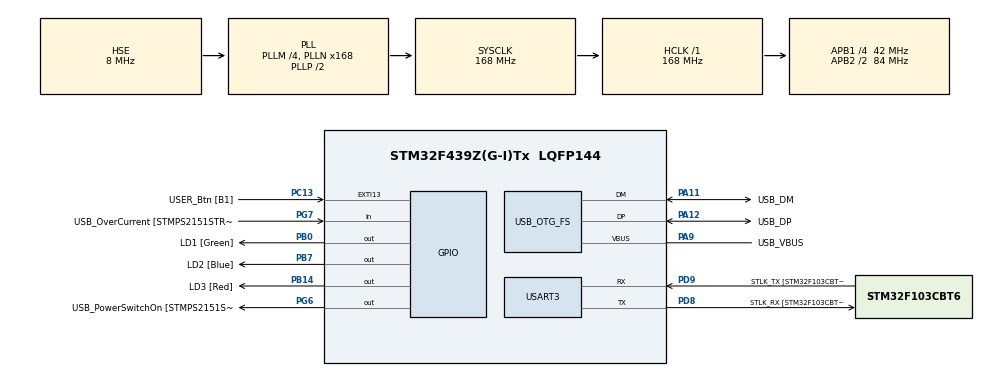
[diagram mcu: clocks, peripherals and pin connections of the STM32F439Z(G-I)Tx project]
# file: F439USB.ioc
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FATFS._MAX_SS=4096
Mcu.Family=STM32F4
Mcu.Name=STM32F439Z(G-I)Tx
Mcu.Package=LQFP144
NVIC.OTG_FS_IRQn=true\:0\:0\:false\:false\:true\:false\:true\:true
NVIC.PriorityGroup=NVIC_PRIORITYGROUP_4
PA1.GPIO_Label=RMII_REF_CLK [LAN8742A-CZ-TR_REFCLK0]
PA1.Signal=ETH_REF_CLK
PA10.GPIO_Label=USB_ID
PA10.Signal=USB_OTG_FS_ID
PA11.GPIO_Label=USB_DM
PA11.Mode=Host_Only
PA11.Signal=USB_OTG_FS_DM
PA12.GPIO_Label=USB_DP
PA12.Mode=Host_Only
PA12.Signal=USB_OTG_FS_DP
PA13.GPIO_Label=TMS
PA13.Mode=Serial_Wire
PA13.Signal=SYS_JTMS-SWDIO
PA14.GPIO_Label=TCK
PA14.Mode=Serial_Wire
PA14.Signal=SYS_JTCK-SWCLK
PA2.GPIO_Label=RMII_MDIO [LAN8742A-CZ-TR_MDIO]
PA2.Signal=ETH_MDIO
PA7.GPIO_Label=RMII_CRS_DV [LAN8742A-CZ-TR_CRS_DV]
PA7.Signal=ETH_CRS_DV
PA8.GPIO_Label=USB_SOF [TP1]
PA8.Signal=USB_OTG_FS_SOF
PA9.GPIO_Label=USB_VBUS
PA9.Mode=Activate_VBUS
PA9.Signal=USB_OTG_FS_VBUS
PB0.GPIO_Label=LD1 [Green]
PB0.Signal=GPIO_Output
PB13.GPIO_Label=RMII_TXD1 [LAN8742A-CZ-TR_TXD1]
PB13.Signal=ETH_TXD1
PB14.GPIO_Label=LD3 [Red]
PB14.Signal=GPIO_Output
PB7.GPIO_Label=LD2 [Blue]
PB7.Signal=GPIO_Output
PC1.GPIO_Label=RMII_MDC [LAN8742A-CZ-TR_MDC]
PC1.Signal=ETH_MDC
PC13.GPIO_Label=USER_Btn [B1]
PC13.Signal=GPXTI13
PC14/OSC32_IN.Mode=LSE-External-Oscillator
PC14/OSC32_IN.Signal=RCC_OSC32_IN
PC15/OSC32_OUT.Mode=LSE-External-Oscillator
PC15/OSC32_OUT.Signal=RCC_OSC32_OUT
PC4.GPIO_Label=RMII_RXD0 [LAN8742A-CZ-TR_RXD0]
PC4.Signal=ETH_RXD0
PC5.GPIO_Label=RMII_RXD1 [LAN8742A-CZ-TR_RXD1]
PC5.Signal=ETH_RXD1
PD8.GPIO_Label=STLK_RX [STM32F103CBT6_PA3]
PD8.Mode=Asynchronous
PD8.Signal=USART3_TX
PD9.GPIO_Label=STLK_TX [STM32F103CBT6_PA2]
PD9.Mode=Asynchronous
PD9.Signal=USART3_RX
PG11.GPIO_Label=RMII_TX_EN [LAN8742A-CZ-TR_TXEN]
PG11.Signal=ETH_TX_EN
PG13.GPIO_Label=RMII_TXD0 [LAN8742A-CZ-TR_TXD0]
PG13.Signal=ETH_TXD0
PG6.GPIO_Label=USB_PowerSwitchOn [STMPS2151STR_EN]
PG6.PinState=GPIO_PIN_SET
PG6.Signal=GPIO_Output
PG7.GPIO_Label=USB_OverCurrent [STMPS2151STR_FAULT]
PG7.Signal=GPIO_Input
PH0/OSC_IN.GPIO_Label=MCO [STM32F103CBT6_PA8]
PH0/OSC_IN.Mode=HSE-External-Clock-Source
PH0/OSC_IN.Signal=RCC_OSC_IN
PH1/OSC_OUT.Mode=HSE-External-Clock-Source
PH1/OSC_OUT.Signal=RCC_OSC_OUT
ProjectManager.HeapSize=0x800
ProjectManager.StackSize=0x800
ProjectManager.TargetToolchain=STM32CubeIDE
RCC.48MHZClocksFreq_Value=48000000
RCC.AHBFreq_Value=168000000
RCC.APB1CLKDivider=RCC_HCLK_DIV4
RCC.APB1Freq_Value=42000000
RCC.APB1TimFreq_Value=84000000
RCC.APB2CLKDivider=RCC_HCLK_DIV2
RCC.APB2Freq_Value=84000000
RCC.APB2TimCLKDivider=2
RCC.APB2TimFreq_Value=168000000
RCC.CortexFreq_Value=168000000
RCC.HCLKFreq_Value=168000000
RCC.HSE_VALUE=8000000
RCC.HSI_VALUE=16000000
RCC.PLLM=4
RCC.PLLMUL=RCC_PLL_MUL9
RCC.PLLN=168
RCC.PLLQ=7
RCC.PRESCALERUSB=RCC_USBCLKSOURCE_PLL_DIV1_5
RCC.SYSCLKFreq_VALUE=168000000
RCC.SYSCLKSource=RCC_SYSCLKSOURCE_PLLCLK
RCC.SYSCLKSourceVirtual=RCC_SYSCLKSOURCE_PLLCLK
RCC.USBFreq_Value=48000000
RCC.VCOOutputFreq_Value=336000000
USART3.VirtualMode=VM_ASYNC
USB_HOST.BSP.number=1
USB_HOST.USBH_DEBUG_LEVEL-MSC_FS=3
USB_HOST.USBH_HandleTypeDef-MSC_FS=hUsbHostFS
USB_HOST.VirtualModeFS=Msc
USB_HOST0.BSP.STBoard=false
USB_HOST0.BSP.api=Unknown
USB_HOST0.BSP.condition=SW_VBUS_DRIVE_MSC_FS \= false
USB_HOST0.BSP.instance=PG6
USB_HOST0.BSP.ip=GPIO
USB_HOST0.BSP.mode=Output
USB_HOST0.BSP.name=Drive_VBUS_FS
USB_HOST0.BSP.solution=PG6
USB_OTG_FS.VirtualMode=Host_Only
USB_OTG_FS.phy_itface=HCD_PHY_EMBEDDED
VP_FATFS_VS_USB.Mode=USB
VP_USB_HOST_VS_USB_HOST_MSC_FS.Mode=MSC_FS
board=NUCLEO-F439ZI

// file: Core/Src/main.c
/* USER CODE BEGIN Header */
/**
  ******************************************************************************
  * @file           : main.c
  * @brief          : Main program body
  ******************************************************************************
  * @attention
  *
  * Copyright (c) 2025 STMicroelectronics.
  * All rights reserved.
  *
  * This software is licensed under terms that can be found in the LICENSE file
  * in the root directory of this software component.
  * If no LICENSE file comes with this software, it is provided AS-IS.
  *
  ******************************************************************************
  */
/* USER CODE END Header */
#include "main.h"
#include "fatfs.h"
#include "usb_host.h"

/* USER CODE BEGIN Includes */
#include <stdio.h>
/* USER CODE END Includes */

UART_HandleTypeDef huart3;

/* USER CODE BEGIN PV */
extern ApplicationTypeDef Appli_state;
uint8_t USBWriteOpEnable; // set from the watch window
extern UART_HandleTypeDef huart3;
/* USER CODE END PV */

void SystemClock_Config(void);
static void MX_GPIO_Init(void);
static void MX_USART3_UART_Init(void);
void MX_USB_HOST_Process(void);

/* USER CODE BEGIN PFP */
void MyUSBUserFnc(void);
static FRESULT ETX_MSC_ProcessUsbDevice(void);
/* USER CODE END PFP */

int main(void)
{

  /* MCU Configuration--------------------------------------------------------*/

  /* Reset of all peripherals, Initializes the Flash interface and the Systick. */
  HAL_Init();

  /* Configure the system clock */
  SystemClock_Config();

  /* Initialize all configured peripherals */
  MX_GPIO_Init();
  MX_USART3_UART_Init();
  MX_FATFS_Init();
  MX_USB_HOST_Init();

  /* Infinite loop */
  while (1)
  {
    MX_USB_HOST_Process();

    /* USER CODE BEGIN 3 */
    MyUSBUserFnc();
  }
  /* USER CODE END 3 */
}

void SystemClock_Config(void)
{
  RCC_OscInitTypeDef RCC_OscInitStruct = {0};
  RCC_ClkInitTypeDef RCC_ClkInitStruct = {0};

  /** Configure the main internal regulator output voltage
  */
  __HAL_RCC_PWR_CLK_ENABLE();
  __HAL_PWR_VOLTAGESCALING_CONFIG(PWR_REGULATOR_VOLTAGE_SCALE1);

  /** Initializes the RCC Oscillators according to the specified parameters
  * in the RCC_OscInitTypeDef structure.
  */
  RCC_OscInitStruct.OscillatorType = RCC_OSCILLATORTYPE_HSE;
  RCC_OscInitStruct.HSEState = RCC_HSE_BYPASS;
  RCC_OscInitStruct.PLL.PLLState = RCC_PLL_ON;
  RCC_OscInitStruct.PLL.PLLSource = RCC_PLLSOURCE_HSE;
  RCC_OscInitStruct.PLL.PLLM = 4;
  RCC_OscInitStruct.PLL.PLLN = 168;
  RCC_OscInitStruct.PLL.PLLP = RCC_PLLP_DIV2;
  RCC_OscInitStruct.PLL.PLLQ = 7;
  if (HAL_RCC_OscConfig(&RCC_OscInitStruct) != HAL_OK)
  {
    Error_Handler();
  }

  /** Initializes the CPU, AHB and APB buses clocks
  */
  RCC_ClkInitStruct.ClockType = RCC_CLOCKTYPE_HCLK|RCC_CLOCKTYPE_SYSCLK
                              |RCC_CLOCKTYPE_PCLK1|RCC_CLOCKTYPE_PCLK2;
  RCC_ClkInitStruct.SYSCLKSource = RCC_SYSCLKSOURCE_PLLCLK;
  RCC_ClkInitStruct.AHBCLKDivider = RCC_SYSCLK_DIV1;
  RCC_ClkInitStruct.APB1CLKDivider = RCC_HCLK_DIV4;
  RCC_ClkInitStruct.APB2CLKDivider = RCC_HCLK_DIV2;

  if (HAL_RCC_ClockConfig(&RCC_ClkInitStruct, FLASH_LATENCY_5) != HAL_OK)
  {
    Error_Handler();
  }
}

static void MX_USART3_UART_Init(void)
{

  huart3.Instance = USART3;
  huart3.Init.BaudRate = 115200;
  huart3.Init.WordLength = UART_WORDLENGTH_8B;
  huart3.Init.StopBits = UART_STOPBITS_1;
  huart3.Init.Parity = UART_PARITY_NONE;
  huart3.Init.Mode = UART_MODE_TX_RX;
  huart3.Init.HwFlowCtl = UART_HWCONTROL_NONE;
  huart3.Init.OverSampling = UART_OVERSAMPLING_16;
  if (HAL_UART_Init(&huart3) != HAL_OK)
  {
    Error_Handler();
  }

}

static void MX_GPIO_Init(void)
{
  GPIO_InitTypeDef GPIO_InitStruct = {0};

  /* GPIO Ports Clock Enable */
  __HAL_RCC_GPIOC_CLK_ENABLE();
  __HAL_RCC_GPIOH_CLK_ENABLE();
  __HAL_RCC_GPIOA_CLK_ENABLE();
  __HAL_RCC_GPIOB_CLK_ENABLE();
  __HAL_RCC_GPIOD_CLK_ENABLE();
  __HAL_RCC_GPIOG_CLK_ENABLE();

  /*Configure GPIO pin Output Level */
  HAL_GPIO_WritePin(GPIOB, LD1_Pin|LD3_Pin|LD2_Pin, GPIO_PIN_RESET);

  /*Configure GPIO pin Output Level */
  HAL_GPIO_WritePin(USB_PowerSwitchOn_GPIO_Port, USB_PowerSwitchOn_Pin, GPIO_PIN_SET);

  /*Configure GPIO pin : USER_Btn_Pin */
  GPIO_InitStruct.Pin = USER_Btn_Pin;
  GPIO_InitStruct.Mode = GPIO_MODE_IT_RISING;
  GPIO_InitStruct.Pull = GPIO_NOPULL;
  HAL_GPIO_Init(USER_Btn_GPIO_Port, &GPIO_InitStruct);

  /*Configure GPIO pins : RMII_MDC_Pin RMII_RXD0_Pin RMII_RXD1_Pin */
  GPIO_InitStruct.Pin = RMII_MDC_Pin|RMII_RXD0_Pin|RMII_RXD1_Pin;
  GPIO_InitStruct.Mode = GPIO_MODE_AF_PP;
  GPIO_InitStruct.Pull = GPIO_NOPULL;
  GPIO_InitStruct.Speed = GPIO_SPEED_FREQ_VERY_HIGH;
  GPIO_InitStruct.Alternate = GPIO_AF11_ETH;
  HAL_GPIO_Init(GPIOC, &GPIO_InitStruct);

  /*Configure GPIO pins : RMII_REF_CLK_Pin RMII_MDIO_Pin RMII_CRS_DV_Pin */
  GPIO_InitStruct.Pin = RMII_REF_CLK_Pin|RMII_MDIO_Pin|RMII_CRS_DV_Pin;
  GPIO_InitStruct.Mode = GPIO_MODE_AF_PP;
  GPIO_InitStruct.Pull = GPIO_NOPULL;
  GPIO_InitStruct.Speed = GPIO_SPEED_FREQ_VERY_HIGH;
  GPIO_InitStruct.Alternate = GPIO_AF11_ETH;
  HAL_GPIO_Init(GPIOA, &GPIO_InitStruct);

  /*Configure GPIO pins : LD1_Pin LD3_Pin LD2_Pin */
  GPIO_InitStruct.Pin = LD1_Pin|LD3_Pin|LD2_Pin;
  GPIO_InitStruct.Mode = GPIO_MODE_OUTPUT_PP;
  GPIO_InitStruct.Pull = GPIO_NOPULL;
  GPIO_InitStruct.Speed = GPIO_SPEED_FREQ_LOW;
  HAL_GPIO_Init(GPIOB, &GPIO_InitStruct);

  /*Configure GPIO pin : RMII_TXD1_Pin */
  GPIO_InitStruct.Pin = RMII_TXD1_Pin;
  GPIO_InitStruct.Mode = GPIO_MODE_AF_PP;
  GPIO_InitStruct.Pull = GPIO_NOPULL;
  GPIO_InitStruct.Speed = GPIO_SPEED_FREQ_VERY_HIGH;
  GPIO_InitStruct.Alternate = GPIO_AF11_ETH;
  HAL_GPIO_Init(RMII_TXD1_GPIO_Port, &GPIO_InitStruct);

  /*Configure GPIO pin : USB_PowerSwitchOn_Pin */
  GPIO_InitStruct.Pin = USB_PowerSwitchOn_Pin;
  GPIO_InitStruct.Mode = GPIO_MODE_OUTPUT_PP;
  GPIO_InitStruct.Pull = GPIO_NOPULL;
  GPIO_InitStruct.Speed = GPIO_SPEED_FREQ_LOW;
  HAL_GPIO_Init(USB_PowerSwitchOn_GPIO_Port, &GPIO_InitStruct);

  /*Configure GPIO pin : USB_OverCurrent_Pin */
  GPIO_InitStruct.Pin = USB_OverCurrent_Pin;
  GPIO_InitStruct.Mode = GPIO_MODE_INPUT;
  GPIO_InitStruct.Pull = GPIO_NOPULL;
  HAL_GPIO_Init(USB_OverCurrent_GPIO_Port, &GPIO_InitStruct);

  /*Configure GPIO pins : RMII_TX_EN_Pin RMII_TXD0_Pin */
  GPIO_InitStruct.Pin = RMII_TX_EN_Pin|RMII_TXD0_Pin;
  GPIO_InitStruct.Mode = GPIO_MODE_AF_PP;
  GPIO_InitStruct.Pull = GPIO_NOPULL;
  GPIO_InitStruct.Speed = GPIO_SPEED_FREQ_VERY_HIGH;
  GPIO_InitStruct.Alternate = GPIO_AF11_ETH;
  HAL_GPIO_Init(GPIOG, &GPIO_InitStruct);

}

/* USER CODE BEGIN 4 */

/**
  * @brief Print the characters to UART (printf).
  * @retval int
  */
#ifdef __GNUC__
  /* With GCC, small printf (option LD Linker->Libraries->Small printf
     set to 'Yes') calls __io_putchar() */
int __io_putchar(int ch)
#else
int fputc(int ch, FILE *f)
#endif /* __GNUC__ */
{
  /* Place your implementation of fputc here */
  /* e.g. write a character to the UART3 and Loop until the end of transmission */
  HAL_UART_Transmit(&huart3, (uint8_t *)&ch, 1, HAL_MAX_DELAY);
  return ch;
}

static FRESULT ETX_MSC_ProcessUsbDevice(void)
{
  FATFS     UsbDiskFatFs;                                 /* File system object for USB disk logical drive */
  char      UsbDiskPath[4] = {0};                         /* USB Host logical drive path */
  FIL       file;                                         /* File object */
  FRESULT   res;                                          /* FatFs function common result code */
  uint32_t  total_space, free_space;                      /* Total Space and Free Space */
  DWORD     fre_clust;                                    /* Freee Cluster */
  uint32_t  byteswritten, bytesread;                      /* File write/read counts */
  uint8_t   wr_data[] = "Welcome to EmbeTronicX!!!";      /* Data buffer */
  uint8_t   rd_data[100];                                 /* Read buffer */
  char      file_name[] = "temp.txt";                     /* File name */

  do
  {
    /* Register the file system object to the FatFs module */
    res = f_mount( &UsbDiskFatFs, (TCHAR const*)UsbDiskPath, 0 );
    if( res != FR_OK )
    {
      /* FatFs Init Error */
      break;
    }

    /* Check the Free Space */
    FATFS *fatFs = &UsbDiskFatFs;
    f_getfree("", &fre_clust, &fatFs);
    total_space = (uint32_t)((UsbDiskFatFs.n_fatent - 2) * UsbDiskFatFs.csize * 0.5);
    free_space = (uint32_t)(fre_clust * UsbDiskFatFs.csize * 0.5);
    printf("USB Device Total Space = %lu MB\n", total_space/1024);
    printf("USB Device Free Space  = %lu MB\n", free_space/1024);

    /* Create a new text file with write access */
    res = f_open( &file, file_name, ( FA_CREATE_ALWAYS | FA_WRITE ) );
    if( res != FR_OK )
    {
      /* File Open Error */
      break;
    }

    /* Write the data to the text file */
    res = f_write( &file, wr_data, sizeof(wr_data), (void *)&byteswritten );

    /* Close the opened file */
    f_close( &file );

    if( res != FR_OK )
    {
      /* File write Error */
      break;
    }

    printf("Data written to the USD Device\n");

    /* Open the text file object with read access */
    res = f_open( &file, file_name, FA_READ );
    if( res != FR_OK )
    {
      /* File Open Error */
      break;
    }

    /* Read data from the file */
    res = f_read( &file, rd_data, sizeof(wr_data), (void *)&bytesread);

    /* Close the file */
    f_close(&file);

    if(res != FR_OK)
    {
      /* File Read Error */
      break;
    }

    /* Print the data */
    printf("Read Data : %s\n", rd_data);

  } while ( 0 );

  /* Unmount the device */
  f_mount(NULL, UsbDiskPath, 0);

  /* Unlink the USB disk driver */
  FATFS_UnLinkDriver(UsbDiskPath);

  return res;
}

void MyUSBUserFnc(void)
{
	  if(Appli_state == APPLICATION_READY)
	  {
		  if(USBWriteOpEnable==1)
		  {
			  if( ETX_MSC_ProcessUsbDevice() != FR_OK )
			  {
				printf("USB Device Process Error\n");
				USBWriteOpEnable=2;
			  }
			  else
			  {
				USBWriteOpEnable=0;
			  }
		  }
	  }
}

/* USER CODE END 4 */

void Error_Handler(void)
{
  __disable_irq();
  while (1)
  {
  }
}
